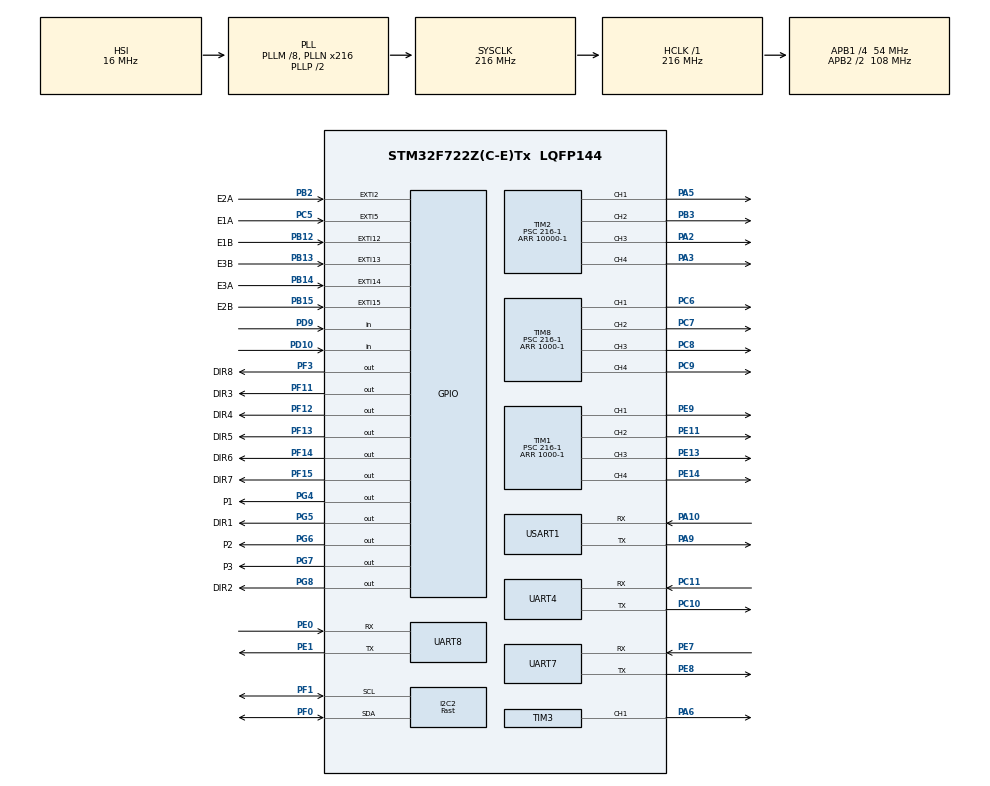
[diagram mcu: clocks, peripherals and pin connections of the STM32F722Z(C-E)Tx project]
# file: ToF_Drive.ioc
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I2C2.I2C_Speed_Mode=I2C_Fast
I2C2.Timing=0x6000030D
Mcu.Family=STM32F7
Mcu.Name=STM32F722Z(C-E)Tx
Mcu.Package=LQFP144
NVIC.EXTI15_10_IRQn=true\:0\:0\:false\:false\:true\:true\:true\:true
NVIC.EXTI2_IRQn=true\:0\:0\:false\:false\:true\:true\:true\:true
NVIC.EXTI9_5_IRQn=true\:0\:0\:false\:false\:true\:true\:true\:true
NVIC.PriorityGroup=NVIC_PRIORITYGROUP_4
NVIC.UART4_IRQn=true\:0\:0\:false\:false\:true\:true\:true\:true
NVIC.UART7_IRQn=true\:0\:0\:false\:false\:true\:true\:true\:true
NVIC.UART8_IRQn=true\:0\:0\:false\:false\:true\:true\:true\:true
NVIC.USART1_IRQn=true\:0\:0\:false\:false\:true\:true\:true\:true
PA10.Mode=Asynchronous
PA10.Signal=USART1_RX
PA2.Signal=S_TIM2_CH3
PA3.Signal=S_TIM2_CH4
PA5.Signal=S_TIM2_CH1_ETR
PA6.Signal=S_TIM3_CH1
PA9.Mode=Asynchronous
PA9.Signal=USART1_TX
PB12.GPIO_Label=E1B
PB12.GPIO_ModeDefaultEXTI=GPIO_MODE_IT_RISING_FALLING
PB12.GPIO_PuPd=GPIO_PULLUP
PB12.Signal=GPXTI12
PB13.GPIO_Label=E3B
PB13.GPIO_ModeDefaultEXTI=GPIO_MODE_IT_RISING_FALLING
PB13.GPIO_PuPd=GPIO_PULLUP
PB13.Signal=GPXTI13
PB14.GPIO_Label=E3A
PB14.GPIO_ModeDefaultEXTI=GPIO_MODE_IT_RISING_FALLING
PB14.GPIO_PuPd=GPIO_PULLUP
PB14.Signal=GPXTI14
PB15.GPIO_Label=E2B
PB15.GPIO_ModeDefaultEXTI=GPIO_MODE_IT_RISING_FALLING
PB15.GPIO_PuPd=GPIO_PULLUP
PB15.Signal=GPXTI15
PB2.GPIO_Label=E2A
PB2.GPIO_ModeDefaultEXTI=GPIO_MODE_IT_RISING_FALLING
PB2.GPIO_PuPd=GPIO_PULLUP
PB2.Signal=GPXTI2
PB3.Signal=S_TIM2_CH2
PC10.Mode=Asynchronous
PC10.Signal=UART4_TX
PC11.Mode=Asynchronous
PC11.Signal=UART4_RX
PC5.GPIO_Label=E1A
PC5.GPIO_ModeDefaultEXTI=GPIO_MODE_IT_RISING_FALLING
PC5.GPIO_PuPd=GPIO_PULLUP
PC5.Signal=GPXTI5
PC6.Signal=S_TIM8_CH1
PC7.Signal=S_TIM8_CH2
PC8.Signal=S_TIM8_CH3
PC9.Signal=S_TIM8_CH4
PD10.Signal=GPIO_Input
PD9.Signal=GPIO_Input
PE0.Mode=Asynchronous
PE0.Signal=UART8_RX
PE1.Mode=Asynchronous
PE1.Signal=UART8_TX
PE11.Signal=S_TIM1_CH2
PE13.Signal=S_TIM1_CH3
PE14.Signal=S_TIM1_CH4
PE7.Mode=Asynchronous
PE7.Signal=UART7_RX
PE8.Mode=Asynchronous
PE8.Signal=UART7_TX
PE9.Signal=S_TIM1_CH1
PF0.Mode=I2C
PF0.Signal=I2C2_SDA
PF1.Mode=I2C
PF1.Signal=I2C2_SCL
PF11.GPIO_Label=DIR3
PF11.Signal=GPIO_Output
PF12.GPIO_Label=DIR4
PF12.Signal=GPIO_Output
PF13.GPIO_Label=DIR5
PF13.Signal=GPIO_Output
PF14.GPIO_Label=DIR6
PF14.Signal=GPIO_Output
PF15.GPIO_Label=DIR7
PF15.Signal=GPIO_Output
PF3.GPIO_Label=DIR8
PF3.Signal=GPIO_Output
PG4.GPIO_Label=P1
PG4.Signal=GPIO_Output
PG5.GPIO_Label=DIR1
PG5.Signal=GPIO_Output
PG6.GPIO_Label=P2
PG6.Signal=GPIO_Output
PG7.GPIO_Label=P3
PG7.Signal=GPIO_Output
PG8.GPIO_Label=DIR2
PG8.Signal=GPIO_Output
ProjectManager.HeapSize=0x200
ProjectManager.StackSize=0x400
ProjectManager.TargetToolchain=STM32CubeIDE
RCC.48MHZClocksFreq_Value=24000000
RCC.AHBFreq_Value=216000000
RCC.APB1CLKDivider=RCC_HCLK_DIV4
RCC.APB1Freq_Value=54000000
RCC.APB1TimFreq_Value=108000000
RCC.APB2CLKDivider=RCC_HCLK_DIV2
RCC.APB2Freq_Value=108000000
RCC.APB2TimFreq_Value=216000000
RCC.CortexFreq_Value=216000000
RCC.HCLKFreq_Value=216000000
RCC.HSE_VALUE=8000000
RCC.HSI_VALUE=16000000
RCC.LSE_VALUE=32768
RCC.PLLM=8
RCC.PLLMUL=RCC_PLL_MUL9
RCC.PLLN=216
RCC.PLLQ=9
RCC.PRESCALERUSB=RCC_USBCLKSOURCE_PLL_DIV1_5
RCC.SYSCLKFreq_VALUE=216000000
RCC.SYSCLKSource=RCC_SYSCLKSOURCE_PLLCLK
RCC.SYSCLKSourceVirtual=RCC_SYSCLKSOURCE_PLLCLK
RCC.USBFreq_Value=48000000
RCC.VCOOutputFreq_Value=432000000
SH.S_TIM1_CH1.0=TIM1_CH1,PWM Generation1 CH1
SH.S_TIM1_CH2.0=TIM1_CH2,PWM Generation2 CH2
SH.S_TIM1_CH3.0=TIM1_CH3,PWM Generation3 CH3
SH.S_TIM1_CH4.0=TIM1_CH4,PWM Generation4 CH4
SH.S_TIM2_CH1_ETR.0=TIM2_CH1,PWM Generation1 CH1
SH.S_TIM2_CH2.0=TIM2_CH2,PWM Generation2 CH2
SH.S_TIM2_CH3.0=TIM2_CH3,PWM Generation3 CH3
SH.S_TIM2_CH4.0=TIM2_CH4,PWM Generation4 CH4
SH.S_TIM3_CH1.0=TIM3_CH1,PWM Generation1 CH1
SH.S_TIM8_CH1.0=TIM8_CH1,PWM Generation1 CH1
SH.S_TIM8_CH2.0=TIM8_CH2,PWM Generation2 CH2
SH.S_TIM8_CH3.0=TIM8_CH3,PWM Generation3 CH3
SH.S_TIM8_CH4.0=TIM8_CH4,PWM Generation4 CH4
TIM1.Channel-PWM\ Generation1\ CH1=TIM_CHANNEL_1
TIM1.Channel-PWM\ Generation2\ CH2=TIM_CHANNEL_2
TIM1.Channel-PWM\ Generation3\ CH3=TIM_CHANNEL_3
TIM1.Channel-PWM\ Generation4\ CH4=TIM_CHANNEL_4
TIM1.Period=1000-1
TIM1.Prescaler=216-1
TIM2.Channel-PWM\ Generation1\ CH1=TIM_CHANNEL_1
TIM2.Channel-PWM\ Generation2\ CH2=TIM_CHANNEL_2
TIM2.Channel-PWM\ Generation3\ CH3=TIM_CHANNEL_3
TIM2.Channel-PWM\ Generation4\ CH4=TIM_CHANNEL_4
TIM2.Period=10000-1
TIM2.Prescaler=216-1
TIM3.Channel-PWM\ Generation1\ CH1=TIM_CHANNEL_1
TIM3.Period=10000-1
TIM3.Prescaler=216-1
TIM8.Channel-PWM\ Generation1\ CH1=TIM_CHANNEL_1
TIM8.Channel-PWM\ Generation2\ CH2=TIM_CHANNEL_2
TIM8.Channel-PWM\ Generation3\ CH3=TIM_CHANNEL_3
TIM8.Channel-PWM\ Generation4\ CH4=TIM_CHANNEL_4
TIM8.Period=1000-1
TIM8.Prescaler=216-1
USART1.VirtualMode-Asynchronous=VM_ASYNC
VP_TIM1_VS_ClockSourceINT.Mode=Internal
VP_TIM2_VS_ClockSourceINT.Mode=Internal
VP_TIM3_VS_ClockSourceINT.Mode=Internal
VP_TIM8_VS_ClockSourceINT.Mode=Internal
board=NUCLEO-F722ZE

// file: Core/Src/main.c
/* USER CODE BEGIN Header */
/**
  ******************************************************************************
  * @file           : main.c
  * @brief          : Main program body
  ******************************************************************************
  * @attention
  *
  * Copyright (c) 2025 STMicroelectronics.
  * All rights reserved.
  *
  * This software is licensed under terms that can be found in the LICENSE file
  * in the root directory of this software component.
  * If no LICENSE file comes with this software, it is provided AS-IS.
  *
  ******************************************************************************
  */
/* USER CODE END Header */
#include "main.h"

/* USER CODE BEGIN Includes */
#include "Cytron.h"
#include "WheelCalculation.h"
#include "String.h"
#include "stdlib.h"
#include <math.h>
#include <bno055_stm32.h>
/* USER CODE END Includes */

/* USER CODE BEGIN PTD */
#define HPS166_CMD_START_RANGING  {0x0A, 0x24, 0x00, 0x00, 0x00, 0x00, 0x00, 0x00, 0x0F, 0x72}
#define HPS166_RESPONSE_SIZE       15
#define RESPONSE_HEADER            0x0A

#define E1A_PIN GPIO_PIN_5
#define E1B_PIN GPIO_PIN_12
#define E1A_PORT GPIOC
#define E1B_PORT GPIOB
#define E2A_PIN GPIO_PIN_2
#define E2B_PIN GPIO_PIN_15
#define E2A_PORT GPIOB
#define E2B_PORT GPIOB
#define E3A_PIN GPIO_PIN_14
#define E3B_PIN GPIO_PIN_13
#define E3A_PORT GPIOB
#define E3B_PORT GPIOB

#define MAX_INTEGRAL 100.0f  // Example threshold

/* USER CODE END PTD */

I2C_HandleTypeDef hi2c2;

TIM_HandleTypeDef htim1;
TIM_HandleTypeDef htim2;
TIM_HandleTypeDef htim3;
TIM_HandleTypeDef htim8;

UART_HandleTypeDef huart4;
UART_HandleTypeDef huart7;
UART_HandleTypeDef huart8;
UART_HandleTypeDef huart1;

/* USER CODE BEGIN PV */
float heading;
float raw_heading;
uint8_t RX_BUFFER[32];
uint16_t buf_size = 0;
int pot1, pot2, pot3, but1, but2;
int dirx, diry, passbtn, shootbtn, basketbtn, dribbleturnbtn;
int m1,m2,m3;
float target_angle = 0;
float current_angle = 0;
float error, correction,r1;
int stopSignalReceived = 0;

float deadZone = 2;

float degree = 0.0;

// === IMU Control ===
bool imu_initialized = false;
float initial_heading_offset = 0.0; // To store starting heading offset
float target_heading = 0.0;          // Target heading relative to offset
float Kp = 0.06, Ki = 0.0001;                     // Proportional gain

double dx, dy, angle_calc;
int basket_x = 4000; // Replace with actual values
int basket_y = 14125;

uint8_t MSG[35] = {'\0'};
int X=2000,Y=5000;
int iX,iY;

uint8_t response1[HPS166_RESPONSE_SIZE], response2[HPS166_RESPONSE_SIZE], response3[HPS166_RESPONSE_SIZE];
volatile uint8_t data_ready1 = 0, data_ready2 = 0, data_ready3 = 0;
uint16_t distance_mm1, distance_mm2, distance_mm3;
uint16_t Tdistance_mm1, Tdistance_mm2, Tdistance_mm3;
float distance_meters1, distance_meters2, distance_meters3;
int toggleState = 0;          // Current toggle state
int previousToggleState = 0;  // Previous toggle state
uint32_t lastUpdate;

volatile int32_t M1_count = 0;
volatile uint8_t M1_lastEncoded = 0;
volatile int32_t M2_count = 0;
volatile uint8_t M2_lastEncoded = 0;
volatile int32_t M3_count = 0;
volatile uint8_t M3_lastEncoded = 0;

int32_t last1, last2, last3;
#define PI 3.141592653589793
#define TICKS_PER_REV 2400
#define WHEEL_DIAMETER_M 0.152
#define DISTANCE_PER_TICK ((PI * WHEEL_DIAMETER_M) / TICKS_PER_REV)
#define L 0.316 // distance from robot center to wheel in meters

float posX = 0.0, posY = 0.0, theta2 = 0.0;
long last_m1 = 0, last_m2 = 0, last_m3 = 0;

/* USER CODE END PV */

void SystemClock_Config(void);
static void MX_GPIO_Init(void);
static void MX_TIM1_Init(void);
static void MX_UART4_Init(void);
static void MX_UART7_Init(void);
static void MX_UART8_Init(void);
static void MX_USART1_UART_Init(void);
static void MX_I2C2_Init(void);
static void MX_TIM8_Init(void);
static void MX_TIM2_Init(void);
static void MX_TIM3_Init(void);
/* USER CODE BEGIN PFP */
void parseData(uint8_t *buffer, uint16_t size);
void sendContinuousRangingCommand(UART_HandleTypeDef *huart);
void processResponse(UART_HandleTypeDef *huart, uint8_t *response, uint16_t *distance_mm, float *distance_meters);
void restartReception(UART_HandleTypeDef *huart, uint8_t *response);
void HAL_GPIO_EXTI_Callback(uint16_t GPIO_Pin);
void M1_updateEncoder();
void M2_updateEncoder();
void M3_updateEncoder();
float get_yaw(void);
/* USER CODE END PFP */

/* USER CODE BEGIN 0 */

void sendContinuousRangingCommand(UART_HandleTypeDef *huart) {
    uint8_t startRangingCmd[] = HPS166_CMD_START_RANGING;
    HAL_UART_Transmit(huart, startRangingCmd, sizeof(startRangingCmd), HAL_MAX_DELAY);
}

void HAL_UARTEx_RxEventCallback(UART_HandleTypeDef *huart, uint16_t Size) {
	if (huart == &huart1 && Size == HPS166_RESPONSE_SIZE && response1[0] == RESPONSE_HEADER) {
	        data_ready1 = 1;
	        processResponse(huart, response1, &distance_mm1, &distance_meters1);
	        data_ready1 = 0;
	        restartReception(&huart1, response1);
	    } else if (huart == &huart4 && Size == HPS166_RESPONSE_SIZE && response2[0] == RESPONSE_HEADER) {
	        data_ready2 = 1;
	        processResponse(huart, response2, &distance_mm2, &distance_meters2);
	        data_ready2 = 0;
	        restartReception(&huart4, response2);
	    } else if (huart == &huart7 && Size == HPS166_RESPONSE_SIZE && response3[0] == RESPONSE_HEADER) {
	        data_ready3 = 1;
	        processResponse(huart, response3, &distance_mm3, &distance_meters3);
	        data_ready3 = 0;
	        restartReception(&huart7, response3);
	    } else{
	    	buf_size = Size;
	    	RX_BUFFER[buf_size] = '\0';
	    	parseData(RX_BUFFER, buf_size);
	    	HAL_UARTEx_ReceiveToIdle_IT(huart, RX_BUFFER, 32);

	    }
}

void parseData(uint8_t *buffer, uint16_t size)
{
	char *token;
	int values[6]; // Array to hold parsed integers
	int index = 0;

	// Tokenize the buffer using comma as a delimiter
	token = strtok((char *)buffer, ",");
	while (token != NULL && index < 6)
	{
		values[index++] = atoi(token);
		token = strtok(NULL, ",");
	}

	// Assign values to corresponding variables (ensure the order matches)
	if (index >= 6) // Ensure enough data is received
	{
		dirx = values[0];
		diry = values[1];
		passbtn = values[2];
		shootbtn = values[3];
		basketbtn = values[4];
		dribbleturnbtn = values[5];

	}
}

float get_yaw(void)
{
    bno055_vector_t euler = bno055_getVectorEuler();
    float yaw = euler.x;

    if (yaw > 180) yaw -= 360;
    if (yaw < -180) yaw += 360;
    return yaw;
}

void processResponse(UART_HandleTypeDef *huart, uint8_t *response, uint16_t *distance_mm, float *distance_meters) {
    *distance_mm = (response[5] << 8) | response[6];
    *distance_meters = *distance_mm / 1000.0;
}

void restartReception(UART_HandleTypeDef *huart, uint8_t *response) {
    HAL_UARTEx_ReceiveToIdle_IT(huart, response, HPS166_RESPONSE_SIZE);
}

// In your main loop
void update_odometry() {
    // Read encoder deltas
    long delta_m1 = M1_count - last_m1;
    long delta_m2 = M2_count - last_m2;
    long delta_m3 = M3_count - last_m3;

    last_m1 = M1_count;
    last_m2 = M2_count;
    last_m3 = M3_count;

    float d1 = delta_m1 * DISTANCE_PER_TICK;
    float d2 = delta_m2 * DISTANCE_PER_TICK;
    float d3 = delta_m3 * DISTANCE_PER_TICK;

    float Vx = (2.0f / 3.0f) * (-0.5f * (d1 + d2) + d3);
    float Vy = (2.0f / 3.0f) * 0.866f * (d1 - d2);
    float dTheta = (d1 + d2 + d3) / (3.0f * L);

    float cosT = cosf(theta2);
    float sinT = sinf(theta2);

    float bot_x = Vx * cosT - Vy * sinT;
    float bot_y = Vx * sinT + Vy * cosT;

    posX += bot_x;
    posY += bot_y;
    theta2 += dTheta;
}

/* USER CODE END 0 */

int main(void)
{

  /* MCU Configuration--------------------------------------------------------*/

  /* Reset of all peripherals, Initializes the Flash interface and the Systick. */
  HAL_Init();

  /* Configure the system clock */
  SystemClock_Config();

  /* Initialize all configured peripherals */
  MX_GPIO_Init();
  MX_TIM1_Init();
  MX_UART4_Init();
  MX_UART7_Init();
  MX_UART8_Init();
  MX_USART1_UART_Init();
  MX_I2C2_Init();
  MX_TIM8_Init();
  MX_TIM2_Init();
  MX_TIM3_Init();
  /* USER CODE BEGIN 2 */
  HAL_UARTEx_ReceiveToIdle_IT(&huart8, RX_BUFFER, 32);

  restartReception(&huart1, response1);
  restartReception(&huart4, response2);
  restartReception(&huart7, response3);

  sendContinuousRangingCommand(&huart1);
  sendContinuousRangingCommand(&huart4);
  sendContinuousRangingCommand(&huart7);

  bno055_assignI2C(&hi2c2);
  bno055_setup();
  bno055_setOperationModeNDOF();

  CytronMotor_t motor1;
  CytronMotor_t motor2;
  CytronMotor_t motor3;
  CytronMotor_Init(&motor1, &htim8, TIM_CHANNEL_4, GPIOF, GPIO_PIN_14);
  CytronMotor_Init(&motor2, &htim8, TIM_CHANNEL_3, GPIOF, GPIO_PIN_3);
  CytronMotor_Init(&motor3, &htim8, TIM_CHANNEL_1, GPIOF, GPIO_PIN_15);

  //Shooter Motor
//  CytronMotor_t shooterMotorUp;
//  CytronMotor_Init(&shooterMotorUp, &htim1, TIM_CHANNEL_1, GPIOF, GPIO_PIN_16);  // Redeine this
//  CytronMotor_t shooterMotorDown;
//  CytronMotor_Init(&shooterMotorDown, &htim1, TIM_CHANNEL_2, GPIOF, GPIO_PIN_17);  // Redeine this

  /* USER CODE END 2 */

  /* Infinite loop */
  /* USER CODE BEGIN WHILE */
  initial_heading_offset = get_yaw(); // Set target angle as current angle
  target_heading = 0.0; // start at zero relative heading
  degree = target_heading;
  imu_initialized = true;

//  uint32_t lastUpdate = 0;
  while (1)
  {

	  HAL_Delay(100);  // or timer-based update
	iX = 4000;
	iY = 4000;
  	sprintf(MSG, "%d,%d\n",distance_mm3,distance_mm2);
 	HAL_UART_Transmit(&huart8, MSG, sizeof(MSG), 100);
	uint32_t currentTick = HAL_GetTick();
      if (currentTick - lastUpdate >= 100)
      {
        lastUpdate = currentTick;
        update_odometry();

	    // Check for emergency stop signal from the controller
        if (shootbtn) // Replace with actual function to detect stop signal
        {
            stopSignalReceived = 1;
        }

        if (stopSignalReceived)
        {
        	m1=0, m2=0, m3=0;
            // Set all motor speeds to zero
            CytronMotor_Speed(&motor1, m1);
            CytronMotor_Speed(&motor2, m2);
            CytronMotor_Speed(&motor3, m3);
            continue; // Skip further processing
        }

	        raw_heading = get_yaw();
	        float current_heading = raw_heading - initial_heading_offset;

	        // Normalize heading to [-180, 180]
	        if (current_heading > 180) current_heading -= 360;
	        if (current_heading < -180) current_heading += 360;

	        if((passbtn>=1450 && passbtn<=1550) && (dribbleturnbtn < 1550 && dribbleturnbtn >1450) &&  (basketbtn ==0))
	        {
	        	target_heading=0.0;
	        }
	        else if((passbtn < 1450) && (basketbtn == 0))
	        {
	        	// Receive Sate
	        	// Tandom Upp state

	        	// Calc
	        	dx = posX - iX;
	        	dy = posY -iY;
	        	angle_calc = atan2(dx, dy) * 180.0 / M_PI;
	        	angle_calc = fmod((angle_calc + 360.0), 360.0);
	        	target_heading = angle_calc;
	        }
	        else if((passbtn>1550) && (basketbtn == 0))
	        {
	        	// Passing

	        	dx = iX - posX;
	        	dy = iY - posY;
	        	angle_calc = atan2(dx, dy) * 180.0 / M_PI;
	        	angle_calc = fmod((angle_calc + 360.0), 360.0);
	        	target_heading = angle_calc;
	        }
	        else if(basketbtn)
	        {
	        	dx = basket_x - posX;
	        	dy = basket_y - posY;
	        	angle_calc = atan2(dx, dy) * 180.0 / M_PI;
	        	angle_calc = fmod((angle_calc + 360.0), 360.0);
	        	target_heading = angle_calc;
	        }

	        if((shootbtn==1 && passbtn<1450) || (shootbtn==1 && basketbtn==1))
	        {
//	          CytronMotor_Speed(&shooterMotorUp, 300);
//	          CytronMotor_Speed(&shooterMotorDown, 300);
	        }
	        if((dribbleturnbtn >1800 || dribbleturnbtn < 1400) && (passbtn>=1450 && passbtn<=1550) )
	        {
	        	target_heading = 90.00;
	        }
	          float error = target_heading - current_heading;
	          if (error > 180) error -= 360;
	          if (error < -180) error += 360;
	          // Integral component
	          static float integral = 0;  // Retain value between iterations
	          integral += error;          // Accumulate error over time

	          // Proportional and integral control
	          r1 = Kp * error + Ki * integral;

	          // Optional: Anti-windup for integral component
	          if (integral > MAX_INTEGRAL) integral = MAX_INTEGRAL;
	          if (integral < -MAX_INTEGRAL) integral = -MAX_INTEGRAL;
	          degree = -target_heading;

	        calculateWheelSpeeds(dirx, diry, &m1, &m2, &m3, &r1, &degree);
	        CytronMotor_Speed(&motor1, m1);
	        CytronMotor_Speed(&motor2, m2);
	        CytronMotor_Speed(&motor3, m3);

	      }
    /* USER CODE END WHILE */

  }
}

void SystemClock_Config(void)
{
  RCC_OscInitTypeDef RCC_OscInitStruct = {0};
  RCC_ClkInitTypeDef RCC_ClkInitStruct = {0};

  /** Configure the main internal regulator output voltage
  */
  __HAL_RCC_PWR_CLK_ENABLE();
  __HAL_PWR_VOLTAGESCALING_CONFIG(PWR_REGULATOR_VOLTAGE_SCALE1);

  /** Initializes the RCC Oscillators according to the specified parameters
  * in the RCC_OscInitTypeDef structure.
  */
  RCC_OscInitStruct.OscillatorType = RCC_OSCILLATORTYPE_HSI;
  RCC_OscInitStruct.HSIState = RCC_HSI_ON;
  RCC_OscInitStruct.HSICalibrationValue = RCC_HSICALIBRATION_DEFAULT;
  RCC_OscInitStruct.PLL.PLLState = RCC_PLL_ON;
  RCC_OscInitStruct.PLL.PLLSource = RCC_PLLSOURCE_HSI;
  RCC_OscInitStruct.PLL.PLLM = 8;
  RCC_OscInitStruct.PLL.PLLN = 216;
  RCC_OscInitStruct.PLL.PLLP = RCC_PLLP_DIV2;
  RCC_OscInitStruct.PLL.PLLQ = 9;
  if (HAL_RCC_OscConfig(&RCC_OscInitStruct) != HAL_OK)
  {
    Error_Handler();
  }

  /** Activate the Over-Drive mode
  */
  if (HAL_PWREx_EnableOverDrive() != HAL_OK)
  {
    Error_Handler();
  }

  /** Initializes the CPU, AHB and APB buses clocks
  */
  RCC_ClkInitStruct.ClockType = RCC_CLOCKTYPE_HCLK|RCC_CLOCKTYPE_SYSCLK
                              |RCC_CLOCKTYPE_PCLK1|RCC_CLOCKTYPE_PCLK2;
  RCC_ClkInitStruct.SYSCLKSource = RCC_SYSCLKSOURCE_PLLCLK;
  RCC_ClkInitStruct.AHBCLKDivider = RCC_SYSCLK_DIV1;
  RCC_ClkInitStruct.APB1CLKDivider = RCC_HCLK_DIV4;
  RCC_ClkInitStruct.APB2CLKDivider = RCC_HCLK_DIV2;

  if (HAL_RCC_ClockConfig(&RCC_ClkInitStruct, FLASH_LATENCY_7) != HAL_OK)
  {
    Error_Handler();
  }
}

static void MX_I2C2_Init(void)
{

  hi2c2.Instance = I2C2;
  hi2c2.Init.Timing = 0x6000030D;
  hi2c2.Init.OwnAddress1 = 0;
  hi2c2.Init.AddressingMode = I2C_ADDRESSINGMODE_7BIT;
  hi2c2.Init.DualAddressMode = I2C_DUALADDRESS_DISABLE;
  hi2c2.Init.OwnAddress2 = 0;
  hi2c2.Init.OwnAddress2Masks = I2C_OA2_NOMASK;
  hi2c2.Init.GeneralCallMode = I2C_GENERALCALL_DISABLE;
  hi2c2.Init.NoStretchMode = I2C_NOSTRETCH_DISABLE;
  if (HAL_I2C_Init(&hi2c2) != HAL_OK)
  {
    Error_Handler();
  }

  /** Configure Analogue filter
  */
  if (HAL_I2CEx_ConfigAnalogFilter(&hi2c2, I2C_ANALOGFILTER_ENABLE) != HAL_OK)
  {
    Error_Handler();
  }

  /** Configure Digital filter
  */
  if (HAL_I2CEx_ConfigDigitalFilter(&hi2c2, 0) != HAL_OK)
  {
    Error_Handler();
  }

}

static void MX_TIM1_Init(void)
{

  TIM_ClockConfigTypeDef sClockSourceConfig = {0};
  TIM_MasterConfigTypeDef sMasterConfig = {0};
  TIM_OC_InitTypeDef sConfigOC = {0};
  TIM_BreakDeadTimeConfigTypeDef sBreakDeadTimeConfig = {0};

  htim1.Instance = TIM1;
  htim1.Init.Prescaler = 216-1;
  htim1.Init.CounterMode = TIM_COUNTERMODE_UP;
  htim1.Init.Period = 1000-1;
  htim1.Init.ClockDivision = TIM_CLOCKDIVISION_DIV1;
  htim1.Init.RepetitionCounter = 0;
  htim1.Init.AutoReloadPreload = TIM_AUTORELOAD_PRELOAD_DISABLE;
  if (HAL_TIM_Base_Init(&htim1) != HAL_OK)
  {
    Error_Handler();
  }
  sClockSourceConfig.ClockSource = TIM_CLOCKSOURCE_INTERNAL;
  if (HAL_TIM_ConfigClockSource(&htim1, &sClockSourceConfig) != HAL_OK)
  {
    Error_Handler();
  }
  if (HAL_TIM_PWM_Init(&htim1) != HAL_OK)
  {
    Error_Handler();
  }
  sMasterConfig.MasterOutputTrigger = TIM_TRGO_RESET;
  sMasterConfig.MasterOutputTrigger2 = TIM_TRGO2_RESET;
  sMasterConfig.MasterSlaveMode = TIM_MASTERSLAVEMODE_DISABLE;
  if (HAL_TIMEx_MasterConfigSynchronization(&htim1, &sMasterConfig) != HAL_OK)
  {
    Error_Handler();
  }
  sConfigOC.OCMode = TIM_OCMODE_PWM1;
  sConfigOC.Pulse = 0;
  sConfigOC.OCPolarity = TIM_OCPOLARITY_HIGH;
  sConfigOC.OCNPolarity = TIM_OCNPOLARITY_HIGH;
  sConfigOC.OCFastMode = TIM_OCFAST_DISABLE;
  sConfigOC.OCIdleState = TIM_OCIDLESTATE_RESET;
  sConfigOC.OCNIdleState = TIM_OCNIDLESTATE_RESET;
  if (HAL_TIM_PWM_ConfigChannel(&htim1, &sConfigOC, TIM_CHANNEL_1) != HAL_OK)
  {
    Error_Handler();
  }
  if (HAL_TIM_PWM_ConfigChannel(&htim1, &sConfigOC, TIM_CHANNEL_2) != HAL_OK)
  {
    Error_Handler();
  }
  if (HAL_TIM_PWM_ConfigChannel(&htim1, &sConfigOC, TIM_CHANNEL_3) != HAL_OK)
  {
    Error_Handler();
  }
  if (HAL_TIM_PWM_ConfigChannel(&htim1, &sConfigOC, TIM_CHANNEL_4) != HAL_OK)
  {
    Error_Handler();
  }
  sBreakDeadTimeConfig.OffStateRunMode = TIM_OSSR_DISABLE;
  sBreakDeadTimeConfig.OffStateIDLEMode = TIM_OSSI_DISABLE;
  sBreakDeadTimeConfig.LockLevel = TIM_LOCKLEVEL_OFF;
  sBreakDeadTimeConfig.DeadTime = 0;
  sBreakDeadTimeConfig.BreakState = TIM_BREAK_DISABLE;
  sBreakDeadTimeConfig.BreakPolarity = TIM_BREAKPOLARITY_HIGH;
  sBreakDeadTimeConfig.BreakFilter = 0;
  sBreakDeadTimeConfig.Break2State = TIM_BREAK2_DISABLE;
  sBreakDeadTimeConfig.Break2Polarity = TIM_BREAK2POLARITY_HIGH;
  sBreakDeadTimeConfig.Break2Filter = 0;
  sBreakDeadTimeConfig.AutomaticOutput = TIM_AUTOMATICOUTPUT_DISABLE;
  if (HAL_TIMEx_ConfigBreakDeadTime(&htim1, &sBreakDeadTimeConfig) != HAL_OK)
  {
    Error_Handler();
  }
  HAL_TIM_MspPostInit(&htim1);

}

static void MX_TIM2_Init(void)
{

  TIM_ClockConfigTypeDef sClockSourceConfig = {0};
  TIM_MasterConfigTypeDef sMasterConfig = {0};
  TIM_OC_InitTypeDef sConfigOC = {0};

  htim2.Instance = TIM2;
  htim2.Init.Prescaler = 216-1;
  htim2.Init.CounterMode = TIM_COUNTERMODE_UP;
  htim2.Init.Period = 10000-1;
  htim2.Init.ClockDivision = TIM_CLOCKDIVISION_DIV1;
  htim2.Init.AutoReloadPreload = TIM_AUTORELOAD_PRELOAD_DISABLE;
  if (HAL_TIM_Base_Init(&htim2) != HAL_OK)
  {
    Error_Handler();
  }
  sClockSourceConfig.ClockSource = TIM_CLOCKSOURCE_INTERNAL;
  if (HAL_TIM_ConfigClockSource(&htim2, &sClockSourceConfig) != HAL_OK)
  {
    Error_Handler();
  }
  if (HAL_TIM_PWM_Init(&htim2) != HAL_OK)
  {
    Error_Handler();
  }
  sMasterConfig.MasterOutputTrigger = TIM_TRGO_RESET;
  sMasterConfig.MasterSlaveMode = TIM_MASTERSLAVEMODE_DISABLE;
  if (HAL_TIMEx_MasterConfigSynchronization(&htim2, &sMasterConfig) != HAL_OK)
  {
    Error_Handler();
  }
  sConfigOC.OCMode = TIM_OCMODE_PWM1;
  sConfigOC.Pulse = 0;
  sConfigOC.OCPolarity = TIM_OCPOLARITY_HIGH;
  sConfigOC.OCFastMode = TIM_OCFAST_DISABLE;
  if (HAL_TIM_PWM_ConfigChannel(&htim2, &sConfigOC, TIM_CHANNEL_1) != HAL_OK)
  {
    Error_Handler();
  }
  if (HAL_TIM_PWM_ConfigChannel(&htim2, &sConfigOC, TIM_CHANNEL_2) != HAL_OK)
  {
    Error_Handler();
  }
  if (HAL_TIM_PWM_ConfigChannel(&htim2, &sConfigOC, TIM_CHANNEL_3) != HAL_OK)
  {
    Error_Handler();
  }
  if (HAL_TIM_PWM_ConfigChannel(&htim2, &sConfigOC, TIM_CHANNEL_4) != HAL_OK)
  {
    Error_Handler();
  }
  HAL_TIM_MspPostInit(&htim2);

}

static void MX_TIM3_Init(void)
{

  TIM_ClockConfigTypeDef sClockSourceConfig = {0};
  TIM_MasterConfigTypeDef sMasterConfig = {0};
  TIM_OC_InitTypeDef sConfigOC = {0};

  htim3.Instance = TIM3;
  htim3.Init.Prescaler = 216-1;
  htim3.Init.CounterMode = TIM_COUNTERMODE_UP;
  htim3.Init.Period = 10000-1;
  htim3.Init.ClockDivision = TIM_CLOCKDIVISION_DIV1;
  htim3.Init.AutoReloadPreload = TIM_AUTORELOAD_PRELOAD_DISABLE;
  if (HAL_TIM_Base_Init(&htim3) != HAL_OK)
  {
    Error_Handler();
  }
  sClockSourceConfig.ClockSource = TIM_CLOCKSOURCE_INTERNAL;
  if (HAL_TIM_ConfigClockSource(&htim3, &sClockSourceConfig) != HAL_OK)
  {
    Error_Handler();
  }
  if (HAL_TIM_PWM_Init(&htim3) != HAL_OK)
  {
    Error_Handler();
  }
  sMasterConfig.MasterOutputTrigger = TIM_TRGO_RESET;
  sMasterConfig.MasterSlaveMode = TIM_MASTERSLAVEMODE_DISABLE;
  if (HAL_TIMEx_MasterConfigSynchronization(&htim3, &sMasterConfig) != HAL_OK)
  {
    Error_Handler();
  }
  sConfigOC.OCMode = TIM_OCMODE_PWM1;
  sConfigOC.Pulse = 0;
  sConfigOC.OCPolarity = TIM_OCPOLARITY_HIGH;
  sConfigOC.OCFastMode = TIM_OCFAST_DISABLE;
  if (HAL_TIM_PWM_ConfigChannel(&htim3, &sConfigOC, TIM_CHANNEL_1) != HAL_OK)
  {
    Error_Handler();
  }
  HAL_TIM_MspPostInit(&htim3);

}

static void MX_TIM8_Init(void)
{

  TIM_ClockConfigTypeDef sClockSourceConfig = {0};
  TIM_MasterConfigTypeDef sMasterConfig = {0};
  TIM_OC_InitTypeDef sConfigOC = {0};
  TIM_BreakDeadTimeConfigTypeDef sBreakDeadTimeConfig = {0};

  htim8.Instance = TIM8;
  htim8.Init.Prescaler = 216-1;
  htim8.Init.CounterMode = TIM_COUNTERMODE_UP;
  htim8.Init.Period = 1000-1;
  htim8.Init.ClockDivision = TIM_CLOCKDIVISION_DIV1;
  htim8.Init.RepetitionCounter = 0;
  htim8.Init.AutoReloadPreload = TIM_AUTORELOAD_PRELOAD_DISABLE;
  if (HAL_TIM_Base_Init(&htim8) != HAL_OK)
  {
    Error_Handler();
  }
  sClockSourceConfig.ClockSource = TIM_CLOCKSOURCE_INTERNAL;
  if (HAL_TIM_ConfigClockSource(&htim8, &sClockSourceConfig) != HAL_OK)
  {
    Error_Handler();
  }
  if (HAL_TIM_PWM_Init(&htim8) != HAL_OK)
  {
    Error_Handler();
  }
  sMasterConfig.MasterOutputTrigger = TIM_TRGO_RESET;
  sMasterConfig.MasterOutputTrigger2 = TIM_TRGO2_RESET;
  sMasterConfig.MasterSlaveMode = TIM_MASTERSLAVEMODE_DISABLE;
  if (HAL_TIMEx_MasterConfigSynchronization(&htim8, &sMasterConfig) != HAL_OK)
  {
    Error_Handler();
  }
  sConfigOC.OCMode = TIM_OCMODE_PWM1;
  sConfigOC.Pulse = 0;
  sConfigOC.OCPolarity = TIM_OCPOLARITY_HIGH;
  sConfigOC.OCNPolarity = TIM_OCNPOLARITY_HIGH;
  sConfigOC.OCFastMode = TIM_OCFAST_DISABLE;
  sConfigOC.OCIdleState = TIM_OCIDLESTATE_RESET;
  sConfigOC.OCNIdleState = TIM_OCNIDLESTATE_RESET;
  if (HAL_TIM_PWM_ConfigChannel(&htim8, &sConfigOC, TIM_CHANNEL_1) != HAL_OK)
  {
    Error_Handler();
  }
  if (HAL_TIM_PWM_ConfigChannel(&htim8, &sConfigOC, TIM_CHANNEL_2) != HAL_OK)
  {
    Error_Handler();
  }
  if (HAL_TIM_PWM_ConfigChannel(&htim8, &sConfigOC, TIM_CHANNEL_3) != HAL_OK)
  {
    Error_Handler();
  }
  if (HAL_TIM_PWM_ConfigChannel(&htim8, &sConfigOC, TIM_CHANNEL_4) != HAL_OK)
  {
    Error_Handler();
  }
  sBreakDeadTimeConfig.OffStateRunMode = TIM_OSSR_DISABLE;
  sBreakDeadTimeConfig.OffStateIDLEMode = TIM_OSSI_DISABLE;
  sBreakDeadTimeConfig.LockLevel = TIM_LOCKLEVEL_OFF;
  sBreakDeadTimeConfig.DeadTime = 0;
  sBreakDeadTimeConfig.BreakState = TIM_BREAK_DISABLE;
  sBreakDeadTimeConfig.BreakPolarity = TIM_BREAKPOLARITY_HIGH;
  sBreakDeadTimeConfig.BreakFilter = 0;
  sBreakDeadTimeConfig.Break2State = TIM_BREAK2_DISABLE;
  sBreakDeadTimeConfig.Break2Polarity = TIM_BREAK2POLARITY_HIGH;
  sBreakDeadTimeConfig.Break2Filter = 0;
  sBreakDeadTimeConfig.AutomaticOutput = TIM_AUTOMATICOUTPUT_DISABLE;
  if (HAL_TIMEx_ConfigBreakDeadTime(&htim8, &sBreakDeadTimeConfig) != HAL_OK)
  {
    Error_Handler();
  }
  HAL_TIM_MspPostInit(&htim8);

}

static void MX_UART4_Init(void)
{

  huart4.Instance = UART4;
  huart4.Init.BaudRate = 115200;
  huart4.Init.WordLength = UART_WORDLENGTH_8B;
  huart4.Init.StopBits = UART_STOPBITS_1;
  huart4.Init.Parity = UART_PARITY_NONE;
  huart4.Init.Mode = UART_MODE_TX_RX;
  huart4.Init.HwFlowCtl = UART_HWCONTROL_NONE;
  huart4.Init.OverSampling = UART_OVERSAMPLING_16;
  huart4.Init.OneBitSampling = UART_ONE_BIT_SAMPLE_DISABLE;
  huart4.AdvancedInit.AdvFeatureInit = UART_ADVFEATURE_NO_INIT;
  if (HAL_UART_Init(&huart4) != HAL_OK)
  {
    Error_Handler();
  }

}

static void MX_UART7_Init(void)
{

  huart7.Instance = UART7;
  huart7.Init.BaudRate = 115200;
  huart7.Init.WordLength = UART_WORDLENGTH_8B;
  huart7.Init.StopBits = UART_STOPBITS_1;
  huart7.Init.Parity = UART_PARITY_NONE;
  huart7.Init.Mode = UART_MODE_TX_RX;
  huart7.Init.HwFlowCtl = UART_HWCONTROL_NONE;
  huart7.Init.OverSampling = UART_OVERSAMPLING_16;
  huart7.Init.OneBitSampling = UART_ONE_BIT_SAMPLE_DISABLE;
  huart7.AdvancedInit.AdvFeatureInit = UART_ADVFEATURE_NO_INIT;
  if (HAL_UART_Init(&huart7) != HAL_OK)
  {
    Error_Handler();
  }

}

static void MX_UART8_Init(void)
{

  huart8.Instance = UART8;
  huart8.Init.BaudRate = 115200;
  huart8.Init.WordLength = UART_WORDLENGTH_8B;
  huart8.Init.StopBits = UART_STOPBITS_1;
  huart8.Init.Parity = UART_PARITY_NONE;
  huart8.Init.Mode = UART_MODE_TX_RX;
  huart8.Init.HwFlowCtl = UART_HWCONTROL_NONE;
  huart8.Init.OverSampling = UART_OVERSAMPLING_16;
  huart8.Init.OneBitSampling = UART_ONE_BIT_SAMPLE_DISABLE;
  huart8.AdvancedInit.AdvFeatureInit = UART_ADVFEATURE_NO_INIT;
  if (HAL_UART_Init(&huart8) != HAL_OK)
  {
    Error_Handler();
  }

}

static void MX_USART1_UART_Init(void)
{

  huart1.Instance = USART1;
  huart1.Init.BaudRate = 115200;
  huart1.Init.WordLength = UART_WORDLENGTH_8B;
  huart1.Init.StopBits = UART_STOPBITS_1;
  huart1.Init.Parity = UART_PARITY_NONE;
  huart1.Init.Mode = UART_MODE_TX_RX;
  huart1.Init.HwFlowCtl = UART_HWCONTROL_NONE;
  huart1.Init.OverSampling = UART_OVERSAMPLING_16;
  huart1.Init.OneBitSampling = UART_ONE_BIT_SAMPLE_DISABLE;
  huart1.AdvancedInit.AdvFeatureInit = UART_ADVFEATURE_NO_INIT;
  if (HAL_UART_Init(&huart1) != HAL_OK)
  {
    Error_Handler();
  }

}

static void MX_GPIO_Init(void)
{
  GPIO_InitTypeDef GPIO_InitStruct = {0};

  /* GPIO Ports Clock Enable */
  __HAL_RCC_GPIOF_CLK_ENABLE();
  __HAL_RCC_GPIOA_CLK_ENABLE();
  __HAL_RCC_GPIOC_CLK_ENABLE();
  __HAL_RCC_GPIOB_CLK_ENABLE();
  __HAL_RCC_GPIOE_CLK_ENABLE();
  __HAL_RCC_GPIOD_CLK_ENABLE();
  __HAL_RCC_GPIOG_CLK_ENABLE();

  /*Configure GPIO pin Output Level */
  HAL_GPIO_WritePin(GPIOF, DIR8_Pin|DIR3_Pin|DIR4_Pin|DIR5_Pin
                          |DIR6_Pin|DIR7_Pin, GPIO_PIN_RESET);

  /*Configure GPIO pin Output Level */
  HAL_GPIO_WritePin(GPIOG, P1_Pin|DIR1_Pin|P2_Pin|P3_Pin
                          |DIR2_Pin, GPIO_PIN_RESET);

  /*Configure GPIO pins : DIR8_Pin DIR3_Pin DIR4_Pin DIR5_Pin
                           DIR6_Pin DIR7_Pin */
  GPIO_InitStruct.Pin = DIR8_Pin|DIR3_Pin|DIR4_Pin|DIR5_Pin
                          |DIR6_Pin|DIR7_Pin;
  GPIO_InitStruct.Mode = GPIO_MODE_OUTPUT_PP;
  GPIO_InitStruct.Pull = GPIO_NOPULL;
  GPIO_InitStruct.Speed = GPIO_SPEED_FREQ_LOW;
  HAL_GPIO_Init(GPIOF, &GPIO_InitStruct);

  /*Configure GPIO pin : E1A_Pin */
  GPIO_InitStruct.Pin = E1A_Pin;
  GPIO_InitStruct.Mode = GPIO_MODE_IT_RISING_FALLING;
  GPIO_InitStruct.Pull = GPIO_PULLUP;
  HAL_GPIO_Init(E1A_GPIO_Port, &GPIO_InitStruct);

  /*Configure GPIO pins : E2A_Pin E1B_Pin E3B_Pin E3A_Pin
                           E2B_Pin */
  GPIO_InitStruct.Pin = E2A_Pin|E1B_Pin|E3B_Pin|E3A_Pin
                          |E2B_Pin;
  GPIO_InitStruct.Mode = GPIO_MODE_IT_RISING_FALLING;
  GPIO_InitStruct.Pull = GPIO_PULLUP;
  HAL_GPIO_Init(GPIOB, &GPIO_InitStruct);

  /*Configure GPIO pins : PD9 PD10 */
  GPIO_InitStruct.Pin = GPIO_PIN_9|GPIO_PIN_10;
  GPIO_InitStruct.Mode = GPIO_MODE_INPUT;
  GPIO_InitStruct.Pull = GPIO_NOPULL;
  HAL_GPIO_Init(GPIOD, &GPIO_InitStruct);

  /*Configure GPIO pins : P1_Pin DIR1_Pin P2_Pin P3_Pin
                           DIR2_Pin */
  GPIO_InitStruct.Pin = P1_Pin|DIR1_Pin|P2_Pin|P3_Pin
                          |DIR2_Pin;
  GPIO_InitStruct.Mode = GPIO_MODE_OUTPUT_PP;
  GPIO_InitStruct.Pull = GPIO_NOPULL;
  GPIO_InitStruct.Speed = GPIO_SPEED_FREQ_LOW;
  HAL_GPIO_Init(GPIOG, &GPIO_InitStruct);

  /* EXTI interrupt init*/
  HAL_NVIC_SetPriority(EXTI2_IRQn, 0, 0);
  HAL_NVIC_EnableIRQ(EXTI2_IRQn);

  HAL_NVIC_SetPriority(EXTI9_5_IRQn, 0, 0);
  HAL_NVIC_EnableIRQ(EXTI9_5_IRQn);

  HAL_NVIC_SetPriority(EXTI15_10_IRQn, 0, 0);
  HAL_NVIC_EnableIRQ(EXTI15_10_IRQn);

}

/* USER CODE BEGIN 4 */
void HAL_GPIO_EXTI_Callback(uint16_t GPIO_Pin)
{
	if(GPIO_Pin == E1A_PIN || GPIO_Pin == E1B_PIN)
	{
		M1_updateEncoder();
	}
	else if(GPIO_Pin == E2A_PIN || GPIO_Pin == E2B_PIN)
	{
		M2_updateEncoder();
	}
	else if(GPIO_Pin == E3A_PIN || GPIO_Pin == E3B_PIN)
	{
		M3_updateEncoder();
	}

//    // Convert ticks to distances
//    float d1 = M1_count * DISTANCE_PER_TICK;
//    float d2 = M2_count * DISTANCE_PER_TICK;
//    float d3 = M3_count * DISTANCE_PER_TICK;
//
//    // Omni drive forward kinematics
//    float Vx = (2.0 / 3.0) * (-0.5 * (d1 + d2) + d3);
//    float Vy = (2.0 / 3.0) * 0.866 * (d1 - d2);
//    float dTheta = (d1 + d2 + d3) / (3.0 * L);
//
//    // Update position in global frame
//    float cosT = cos(0);
//    float sinT = sin(0);
//
//    float dx = Vx * cosT - Vy * sinT;
//    float dy = Vx * sinT + Vy * cosT;
//
//    posX += dx;
//    posY += dy;
//    theta2 += dTheta;

}

void M1_updateEncoder()
{
	uint8_t MSB = HAL_GPIO_ReadPin(E1A_PORT, E1A_PIN);
	uint8_t LSB = HAL_GPIO_ReadPin(E1B_PORT, E1B_PIN);

	uint8_t encoded = (MSB << 1) | LSB;
	uint8_t sum = (M1_lastEncoded << 2) | encoded;

    if (sum == 0b1101 || sum == 0b0100 || sum == 0b0010 || sum == 0b1011)
    {
        M1_count++;
    }
    else if (sum == 0b1110 || sum == 0b0111 || sum == 0b0001 || sum == 0b1000)
    {
        M1_count--;
    }
    M1_lastEncoded = encoded;
}

void M2_updateEncoder()
{
	uint8_t MSB = HAL_GPIO_ReadPin(E2A_PORT, E2A_PIN);
	uint8_t LSB = HAL_GPIO_ReadPin(E2B_PORT, E2B_PIN);

	uint8_t encoded = (MSB << 1) | LSB;
	uint8_t sum = (M2_lastEncoded << 2) | encoded;

    if (sum == 0b1101 || sum == 0b0100 || sum == 0b0010 || sum == 0b1011)
    {
        M2_count++;
    }
    else if (sum == 0b1110 || sum == 0b0111 || sum == 0b0001 || sum == 0b1000)
    {
        M2_count--;
    }
    M2_lastEncoded = encoded;
}

void M3_updateEncoder()
{
	uint8_t MSB = HAL_GPIO_ReadPin(E3A_PORT, E3A_PIN);
	uint8_t LSB = HAL_GPIO_ReadPin(E3B_PORT, E3B_PIN);

	uint8_t encoded = (MSB << 1) | LSB;
	uint8_t sum = (M3_lastEncoded << 2) | encoded;

    if (sum == 0b1101 || sum == 0b0100 || sum == 0b0010 || sum == 0b1011)
    {
        M3_count++;
    }
    else if (sum == 0b1110 || sum == 0b0111 || sum == 0b0001 || sum == 0b1000)
    {
        M3_count--;
    }
    M3_lastEncoded = encoded;
}
/* USER CODE END 4 */

void Error_Handler(void)
{
  __disable_irq();
  while (1)
  {
  }
}
